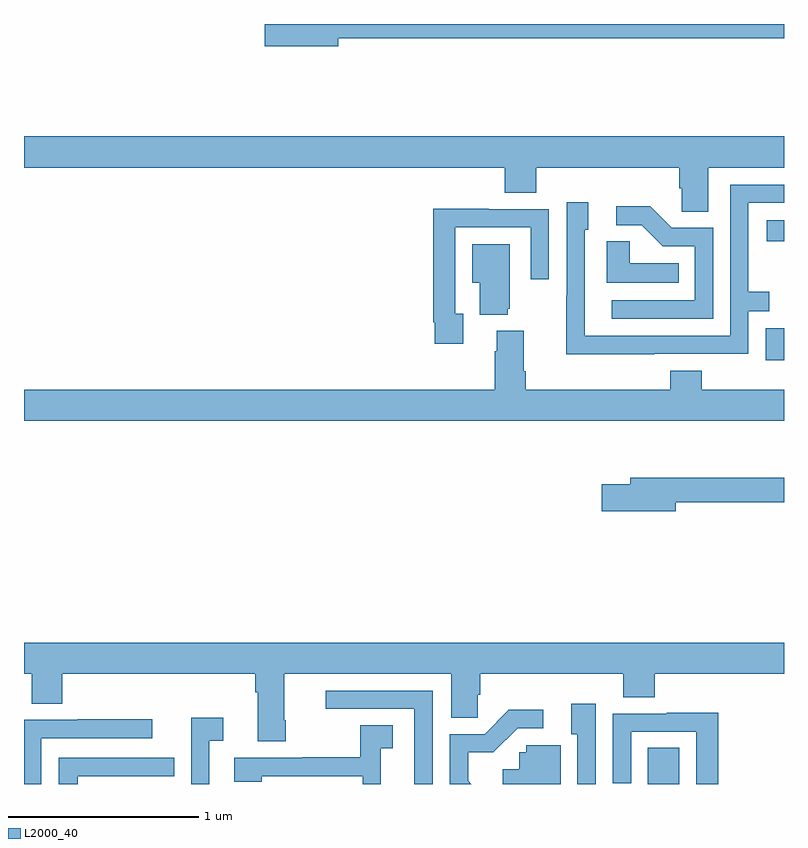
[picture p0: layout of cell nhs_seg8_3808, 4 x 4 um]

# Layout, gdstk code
import gdstk
lib = gdstk.Library(unit=1e-6, precision=1e-09)
def R(c, l, rs):  # rectangles x0, y0, x1, y1
    for r in rs: c.add(gdstk.rectangle(r[:2], r[2:], *l))
def P(c, l, *ps):  # polygons
    for p in ps: c.add(gdstk.Polygon(p, *l))
L2000_40 = (2000, 40)

nhs_seg8_3808 = lib.new_cell('nhs_seg8_3808')
R(nhs_seg8_3808, L2000_40, [(348.284,1135.9,348.448,1136.09), (348.903,1138.131,349,1138.299), (348.909,1138.757,349,1138.867)])
P(nhs_seg8_3808, L2000_40, [(346.654,1139.824),(349,1139.824),(349,1139.9),(346.266,1139.9),(346.266,1139.782),(346.654,1139.782)],
  [(348.601,1139.144),(349,1139.144),(349,1139.308),(345,1139.308),(345,1139.144),(347.531,1139.144),(347.531,1139.011),(347.696,1139.011),(347.696,1139.144),(348.449,1139.144),(348.449,1139.035),(348.462,1139.035),(348.462,1138.912),(348.601,1138.912)],
  [(348.317,1138.164),(348.813,1138.164),(348.813,1138.389),(348.923,1138.389),(348.923,1138.49),(348.813,1138.49),(348.813,1138.959),(349,1138.959),(349,1139.055),(348.717,1139.055),(348.717,1138.26),(347.952,1138.26),(347.952,1138.818),(347.971,1138.818),(347.971,1138.963),(347.856,1138.963),(347.856,1138.469),(347.854,1138.469),(347.854,1138.163),(348.317,1138.163)],
  [(348.627,1138.827),(348.408,1138.827),(348.295,1138.94),(348.117,1138.94),(348.117,1138.842),(348.251,1138.842),(348.362,1138.731),(348.531,1138.731),(348.531,1138.446),(348.093,1138.446),(348.093,1138.35),(348.627,1138.35)],
  [(347.311,1138.374),(347.271,1138.374),(347.271,1138.83),(347.667,1138.83),(347.667,1138.557),(347.763,1138.557),(347.763,1138.926),(347.447,1138.926),(347.447,1138.928),(347.155,1138.928),(347.155,1138.33),(347.163,1138.33),(347.163,1138.218),(347.311,1138.218)],
  [(348.446,1138.642),(348.189,1138.642),(348.189,1138.757),(348.068,1138.757),(348.068,1138.538),(348.446,1138.538)],
  [(347.546,1138.401),(347.557,1138.401),(347.557,1138.741),(347.36,1138.741),(347.36,1138.538),(347.399,1138.538),(347.399,1138.37),(347.546,1138.37)],
  [(349,1137.976),(348.566,1137.976),(348.566,1138.075),(348.401,1138.075),(348.401,1137.976),(347.642,1137.976),(347.642,1138.072),(347.629,1138.072),(347.629,1138.285),(347.489,1138.285),(347.489,1138.178),(347.477,1138.178),(347.477,1137.976),(345,1137.976),(345,1137.812),(349,1137.812)],
  [(348.43,1137.382),(349,1137.382),(349,1137.511),(348.191,1137.511),(348.191,1137.477),(348.042,1137.477),(348.042,1137.335),(348.43,1137.335)],
  [(346.377,1136.236),(346.369,1136.236),(346.369,1136.48),(347.249,1136.48),(347.249,1136.248),(347.387,1136.248),(347.387,1136.37),(347.402,1136.37),(347.402,1136.48),(348.155,1136.48),(348.155,1136.356),(348.32,1136.356),(348.32,1136.48),(349,1136.48),(349,1136.644),(345,1136.644),(345,1136.48),(345.04,1136.48),(345.04,1136.323),(345.2,1136.323),(345.2,1136.48),(346.217,1136.48),(346.217,1136.384),(346.229,1136.384),(346.229,1136.124),(346.377,1136.124)],
  [(347.151,1136.391),(346.587,1136.391),(346.587,1136.295),(347.054,1136.295),(347.054,1135.9),(347.151,1135.9)],
  [(348.009,1136.323),(347.879,1136.323),(347.879,1136.162),(347.913,1136.162),(347.913,1135.9),(348.009,1135.9)],
  [(347.338,1135.916),(347.338,1136.066),(347.471,1136.066),(347.598,1136.193),(347.734,1136.193),(347.734,1136.291),(347.552,1136.291),(347.424,1136.163),(347.241,1136.163),(347.241,1135.9),(347.354,1135.9)],
  [(348.653,1136.275),(348.383,1136.275),(348.383,1136.271),(348.099,1136.271),(348.099,1135.905),(348.195,1135.905),(348.195,1136.175),(348.537,1136.175),(348.537,1135.9),(348.653,1135.9)],
  [(345.976,1136.128),(346.048,1136.128),(346.048,1136.248),(345.879,1136.248),(345.879,1135.9),(345.976,1135.9)],
  [(345.09,1136.142),(345.676,1136.142),(345.676,1136.241),(345.283,1136.241),(345.283,1136.238),(345,1136.238),(345,1135.9),(345.09,1135.9)],
  [(346.878,1136.089),(346.942,1136.089),(346.942,1136.21),(346.77,1136.21),(346.77,1136.04),(346.465,1136.04),(346.465,1136.037),(346.107,1136.037),(346.107,1135.913),(346.251,1135.913),(346.251,1135.941),(346.782,1135.941),(346.782,1135.9),(346.878,1135.9)],
  [(347.824,1136.103),(347.643,1136.103),(347.643,1136.067),(347.607,1136.067),(347.607,1135.978),(347.52,1135.978),(347.52,1135.9),(347.824,1135.9)],
  [(345.282,1135.941),(345.677,1135.941),(345.677,1135.942),(345.79,1135.942),(345.79,1136.037),(345.183,1136.037),(345.183,1135.9),(345.282,1135.9)])

lib.write_gds('nhs_seg8_3808.gds')
